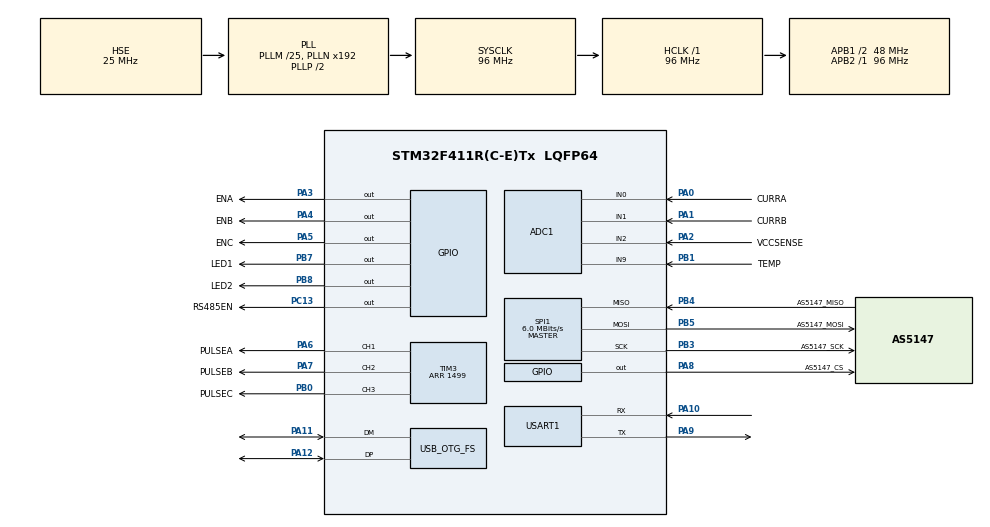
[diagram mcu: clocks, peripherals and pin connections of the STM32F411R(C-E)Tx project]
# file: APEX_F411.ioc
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ADC1.Channel-0\#ChannelRegularConversion=ADC_CHANNEL_2
ADC1.Channel-1\#ChannelRegularConversion=ADC_CHANNEL_9
ADC1.Channel-2\#ChannelInjectedConversion=ADC_CHANNEL_0
ADC1.Channel-3\#ChannelInjectedConversion=ADC_CHANNEL_1
ADC1.ContinuousConvMode=ENABLE
ADC1.DMAContinuousRequests=ENABLE
ADC1.ExternalTrigConv=ADC_SOFTWARE_START
ADC1.ExternalTrigInjecConv=ADC_EXTERNALTRIGINJECCONV_T3_CC4
ADC1.InjNumberOfConversion=2
ADC1.InjectedOffset-2\#ChannelInjectedConversion=0
ADC1.InjectedOffset-3\#ChannelInjectedConversion=0
ADC1.InjectedRank-2\#ChannelInjectedConversion=1
ADC1.InjectedRank-3\#ChannelInjectedConversion=2
ADC1.NbrOfConversion=2
ADC1.NbrOfConversionFlag=1
ADC1.Rank-0\#ChannelRegularConversion=1
ADC1.Rank-1\#ChannelRegularConversion=2
ADC1.SamplingTime-0\#ChannelRegularConversion=ADC_SAMPLETIME_480CYCLES
ADC1.SamplingTime-1\#ChannelRegularConversion=ADC_SAMPLETIME_480CYCLES
ADC1.SamplingTime-2\#ChannelInjectedConversion=ADC_SAMPLETIME_15CYCLES
ADC1.SamplingTime-3\#ChannelInjectedConversion=ADC_SAMPLETIME_15CYCLES
ADC1.ScanConvMode=ENABLE
ADC1.master=1
Dma.ADC1.0.Direction=DMA_PERIPH_TO_MEMORY
Dma.ADC1.0.FIFOMode=DMA_FIFOMODE_DISABLE
Dma.ADC1.0.Instance=DMA2_Stream0
Dma.ADC1.0.MemDataAlignment=DMA_MDATAALIGN_HALFWORD
Dma.ADC1.0.MemInc=DMA_MINC_ENABLE
Dma.ADC1.0.Mode=DMA_CIRCULAR
Dma.ADC1.0.PeriphDataAlignment=DMA_PDATAALIGN_HALFWORD
Dma.ADC1.0.PeriphInc=DMA_PINC_DISABLE
Dma.ADC1.0.Priority=DMA_PRIORITY_LOW
Dma.Request0=ADC1
Mcu.Family=STM32F4
Mcu.Name=STM32F411R(C-E)Tx
Mcu.Package=LQFP64
NVIC.ADC_IRQn=true\:0\:0\:false\:false\:true\:true\:true\:true
NVIC.DMA2_Stream0_IRQn=true\:0\:0\:false\:false\:true\:false\:true\:true
NVIC.OTG_FS_IRQn=true\:1\:0\:true\:false\:true\:false\:true\:true
NVIC.PriorityGroup=NVIC_PRIORITYGROUP_4
NVIC.TIM1_UP_TIM10_IRQn=true\:0\:0\:false\:false\:true\:true\:true\:true
PA0-WKUP.GPIO_Label=CURRA
PA0-WKUP.Signal=ADCx_IN0
PA1.GPIO_Label=CURRB
PA1.Signal=ADCx_IN1
PA10.Mode=Asynchronous
PA10.Signal=USART1_RX
PA11.Mode=Device_Only
PA11.Signal=USB_OTG_FS_DM
PA12.Mode=Device_Only
PA12.Signal=USB_OTG_FS_DP
PA13.GPIO_Label=SWD_SWDIO
PA13.Mode=Serial_Wire
PA13.Signal=SYS_JTMS-SWDIO
PA14.GPIO_Label=SWD_SWCLK
PA14.Mode=Serial_Wire
PA14.Signal=SYS_JTCK-SWCLK
PA2.GPIO_Label=VCCSENSE
PA2.Signal=ADCx_IN2
PA3.GPIO_Label=ENA
PA3.Signal=GPIO_Output
PA4.GPIO_Label=ENB
PA4.Signal=GPIO_Output
PA5.GPIO_Label=ENC
PA5.Signal=GPIO_Output
PA6.GPIO_Label=PULSEA
PA6.Signal=S_TIM3_CH1
PA7.GPIO_Label=PULSEB
PA7.Signal=S_TIM3_CH2
PA8.GPIO_Label=AS5147_CS
PA8.Signal=GPIO_Output
PA9.Mode=Asynchronous
PA9.Signal=USART1_TX
PB0.GPIO_Label=PULSEC
PB0.Signal=S_TIM3_CH3
PB1.GPIO_Label=TEMP
PB1.Signal=ADCx_IN9
PB3.GPIO_Label=AS5147_SCK
PB3.Mode=Full_Duplex_Master
PB3.Signal=SPI1_SCK
PB4.GPIO_Label=AS5147_MISO
PB4.Mode=Full_Duplex_Master
PB4.Signal=SPI1_MISO
PB5.GPIO_Label=AS5147_MOSI
PB5.Mode=Full_Duplex_Master
PB5.Signal=SPI1_MOSI
PB7.GPIO_Label=LED1
PB7.Signal=GPIO_Output
PB8.GPIO_Label=LED2
PB8.Signal=GPIO_Output
PC13-ANTI_TAMP.GPIO_Label=RS485EN
PC13-ANTI_TAMP.Signal=GPIO_Output
PH0\ -\ OSC_IN.Mode=HSE-External-Oscillator
PH0\ -\ OSC_IN.Signal=RCC_OSC_IN
PH1\ -\ OSC_OUT.Mode=HSE-External-Oscillator
PH1\ -\ OSC_OUT.Signal=RCC_OSC_OUT
ProjectManager.HeapSize=0x200
ProjectManager.StackSize=0x400
ProjectManager.TargetToolchain=STM32CubeIDE
RCC.48MHZClocksFreq_Value=48000000
RCC.AHBFreq_Value=96000000
RCC.APB1CLKDivider=RCC_HCLK_DIV2
RCC.APB1Freq_Value=48000000
RCC.APB1TimFreq_Value=96000000
RCC.APB2Freq_Value=96000000
RCC.APB2TimFreq_Value=96000000
RCC.CortexFreq_Value=96000000
RCC.HCLKFreq_Value=96000000
RCC.HSE_VALUE=25000000
RCC.HSI_VALUE=16000000
RCC.LSE_VALUE=32768
RCC.PLLM=25
RCC.PLLQ=4
RCC.SYSCLKFreq_VALUE=96000000
RCC.SYSCLKSource=RCC_SYSCLKSOURCE_PLLCLK
RCC.USBFreq_Value=48000000
RCC.VCOOutputFreq_Value=192000000
SH.ADCx_IN0.0=ADC1_IN0,IN0
SH.ADCx_IN1.0=ADC1_IN1,IN1
SH.ADCx_IN2.0=ADC1_IN2,IN2
SH.ADCx_IN9.0=ADC1_IN9,IN9
SH.S_TIM3_CH1.0=TIM3_CH1,PWM Generation1 CH1
SH.S_TIM3_CH2.0=TIM3_CH2,PWM Generation2 CH2
SH.S_TIM3_CH3.0=TIM3_CH3,PWM Generation3 CH3
SPI1.BaudRatePrescaler=SPI_BAUDRATEPRESCALER_16
SPI1.CLKPhase=SPI_PHASE_2EDGE
SPI1.CalculateBaudRate=6.0 MBits/s
SPI1.DataSize=SPI_DATASIZE_16BIT
SPI1.Direction=SPI_DIRECTION_2LINES
SPI1.Mode=SPI_MODE_MASTER
SPI1.VirtualType=VM_MASTER
TIM1.Period=7999
TIM10.Period=958
TIM3.AutoReloadPreload=TIM_AUTORELOAD_PRELOAD_ENABLE
TIM3.Channel-PWM\ Generation1\ CH1=TIM_CHANNEL_1
TIM3.Channel-PWM\ Generation2\ CH2=TIM_CHANNEL_2
TIM3.Channel-PWM\ Generation3\ CH3=TIM_CHANNEL_3
TIM3.Channel-PWM\ Generation4\ No\ Output=TIM_CHANNEL_4
TIM3.CounterMode=TIM_COUNTERMODE_CENTERALIGNED1
TIM3.Period=1499
USART1.VirtualMode=VM_ASYNC
USB_DEVICE.CLASS_NAME_FS=CDC
USB_DEVICE.VirtualMode=Cdc
USB_DEVICE.VirtualModeFS=Cdc_FS
USB_OTG_FS.VirtualMode=Device_Only
VP_TIM10_VS_ClockSourceINT.Mode=Enable_Timer
VP_TIM1_VS_ClockSourceINT.Mode=Internal
VP_TIM3_VS_ClockSourceINT.Mode=Internal
VP_TIM3_VS_no_output4.Mode=PWM Generation4 No Output
VP_USB_DEVICE_VS_USB_DEVICE_CDC_FS.Mode=CDC_FS
board=custom

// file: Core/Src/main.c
/* USER CODE BEGIN Header */
/* USER CODE END Header */
#include "main.h"
#include "usb_device.h"

/* USER CODE BEGIN Includes */
#include "apex_board.h"
#include "arm_math.h"
/* USER CODE END Includes */

/* USER CODE BEGIN PM */
#define MAX_TICK 2048
/* USER CODE END PM */

ADC_HandleTypeDef hadc1;
DMA_HandleTypeDef hdma_adc1;

SPI_HandleTypeDef hspi1;

TIM_HandleTypeDef htim1;
TIM_HandleTypeDef htim3;
TIM_HandleTypeDef htim10;

UART_HandleTypeDef huart1;

/* USER CODE BEGIN PV */

/* Every subsystem this board has one of.
 *
 * Owned here and passed by pointer to whatever needs them, so there is a
 * single copy of the truth and no module reaches for a global of its
 * own. A board with different hardware -- two motors, no bus sensor,
 * whatever -- changes what gets declared and wired here; the modules
 * themselves don't change. */
static motor_t motor;
static encoder_t encoder;
static gate_driver_t gate_driver;
static sensors_t sensors;
static loop_t loop;
uint32_t ticks = 0;
float sin_ang = 0;
/* USER CODE END PV */

void SystemClock_Config(void);
static void MX_GPIO_Init(void);
static void MX_DMA_Init(void);
static void MX_ADC1_Init(void);
static void MX_TIM1_Init(void);
static void MX_TIM3_Init(void);
static void MX_SPI1_Init(void);
static void MX_USART1_UART_Init(void);
static void MX_TIM10_Init(void);

int main(void)
{

	/* MCU Configuration--------------------------------------------------------*/

	/* Reset of all peripherals, Initializes the Flash interface and the Systick. */
	HAL_Init();

	/* Configure the system clock */
	SystemClock_Config();

	/* Initialize all configured peripherals */
	MX_GPIO_Init();
	MX_DMA_Init();
	MX_ADC1_Init();
	MX_TIM1_Init();
	MX_TIM3_Init();
	MX_SPI1_Init();
	MX_USART1_UART_Init();
	MX_TIM10_Init();
	MX_USB_DEVICE_Init();
	/* USER CODE BEGIN 2 */

	/* ORDER MATTERS HERE.
	 *
	 * motor_init only clears state, so it comes first: nothing that later
	 * reads a motor property can then see memory that was never written.
	 * It only needs the encoder's address, not its contents yet.
	 *
	 * encoder_init next, before anything talks to the sensor over SPI --
	 * loop_init below primes the encoder pipeline as part of its own
	 * setup, so the chip select idle state and the sensor's power-up
	 * error flags must already be sorted out by the time that runs.
	 *
	 * sensors_start next, because it starts the ADC running with the
	 * regular conversion group. The injected group that loop_init arms
	 * preempts that group, so the ADC must already be going.
	 *
	 * gate_driver_init before loop_init, so the bridge is explicitly
	 * disabled before the control interrupt starts firing -- rather than
	 * relying on the GPIO reset state being what we assume.
	 *
	 * loop_init after all three. It measures the no-current sensor
	 * references, which needs the ADC running and the bridge off, and it
	 * arms the interrupt that everything downstream runs inside.
	 *
	 * protection_init after loop_init, since the supervisor compares
	 * against the references loop_init established.
	 *
	 * openloop_init installs itself as the loop function, so it must
	 * follow loop_init and precede loop_start.
	 */
	motor_init(&motor, &encoder);
	encoder_init(&encoder);

	sensors_start(&sensors);
	gate_driver_init(&gate_driver);
	loop_init(&loop, &motor);

	protection_init();
	openloop_init(&motor);
	currentloop_init(&motor);
	telemetry_init(&motor);
	commands_init(&motor);

	loop_start();

	protocol_init();

	/* Work out which way round the current sensors read, now that the
	 * loop is running and can sample them.
	 *
	 * This drives a small current through two phases for a few tens of
	 * milliseconds. It is done here, before anything else can command
	 * the bridge, because every dq transform downstream depends on the
	 * answer and a wrong sign is not a small error -- it points the
	 * control loop's torque the wrong way.
	 *
	 * A disconnected motor produces no current and reports that it could
	 * not tell, leaving the declared directions in place. That is the
	 * right outcome for a board on a bench with nothing attached: no
	 * guess is made from noise, and `idir` will say so when asked.
	 */
	{
		estimate_direction_result_t direction;
		(void)estimate_current_direction(&direction);
	}

	/* Time of the last heartbeat blink.
	 *
	 * A steadily blinking LED1 is the simplest possible proof that the
	 * main loop is still running and has not become stuck inside a call
	 * that never returns -- which is exactly what a control interrupt
	 * overrunning its period looks like from outside. */
	uint32_t last_heartbeat_tick = 0u;

	/* USER CODE END 2 */

	/* Infinite loop */
	/* USER CODE BEGIN WHILE */
	while (1)
	{
		/* Drain received bytes, assemble commands, run their handlers.
		 * Both wire formats are fed from here. */
		protocol_poll();

		/* Compare the sensors against their limits and trip if needed. */
		protection_poll();

		/* Send any waiting telemetry samples. Returns immediately when
		 * nothing is waiting or USB is still busy, so this costs almost
		 * nothing when streaming is off. */
		telemetry_flush();

		/* Heartbeat. Subtracting the two ticks rather than comparing
		 * against a sum keeps the interval correct across the wrap that
		 * happens after about 49 days. */
		if ((HAL_GetTick() - last_heartbeat_tick) >= 500u) {
			last_heartbeat_tick = HAL_GetTick();
			led1_toggle();
			ticks++;
		}
		sin_ang = arm_sin_f32(fmodf((float) ticks,6.28f));

		/* USER CODE END WHILE */

	}
}

void SystemClock_Config(void)
{
	RCC_OscInitTypeDef RCC_OscInitStruct = {0};
	RCC_ClkInitTypeDef RCC_ClkInitStruct = {0};

	/** Configure the main internal regulator output voltage
	 */
	__HAL_RCC_PWR_CLK_ENABLE();
	__HAL_PWR_VOLTAGESCALING_CONFIG(PWR_REGULATOR_VOLTAGE_SCALE1);

	/** Initializes the RCC Oscillators according to the specified parameters
	 * in the RCC_OscInitTypeDef structure.
	 */
	RCC_OscInitStruct.OscillatorType = RCC_OSCILLATORTYPE_HSE;
	RCC_OscInitStruct.HSEState = RCC_HSE_ON;
	RCC_OscInitStruct.PLL.PLLState = RCC_PLL_ON;
	RCC_OscInitStruct.PLL.PLLSource = RCC_PLLSOURCE_HSE;
	RCC_OscInitStruct.PLL.PLLM = 25;
	RCC_OscInitStruct.PLL.PLLN = 192;
	RCC_OscInitStruct.PLL.PLLP = RCC_PLLP_DIV2;
	RCC_OscInitStruct.PLL.PLLQ = 4;
	if (HAL_RCC_OscConfig(&RCC_OscInitStruct) != HAL_OK)
	{
		Error_Handler();
	}

	/** Initializes the CPU, AHB and APB buses clocks
	 */
	RCC_ClkInitStruct.ClockType = RCC_CLOCKTYPE_HCLK|RCC_CLOCKTYPE_SYSCLK
			|RCC_CLOCKTYPE_PCLK1|RCC_CLOCKTYPE_PCLK2;
	RCC_ClkInitStruct.SYSCLKSource = RCC_SYSCLKSOURCE_PLLCLK;
	RCC_ClkInitStruct.AHBCLKDivider = RCC_SYSCLK_DIV1;
	RCC_ClkInitStruct.APB1CLKDivider = RCC_HCLK_DIV2;
	RCC_ClkInitStruct.APB2CLKDivider = RCC_HCLK_DIV1;

	if (HAL_RCC_ClockConfig(&RCC_ClkInitStruct, FLASH_LATENCY_3) != HAL_OK)
	{
		Error_Handler();
	}
}

static void MX_ADC1_Init(void)
{

	ADC_ChannelConfTypeDef sConfig = {0};
	ADC_InjectionConfTypeDef sConfigInjected = {0};

	/** Configure the global features of the ADC (Clock, Resolution, Data Alignment and number of conversion)
	 */
	hadc1.Instance = ADC1;
	hadc1.Init.ClockPrescaler = ADC_CLOCK_SYNC_PCLK_DIV4;
	hadc1.Init.Resolution = ADC_RESOLUTION_12B;
	hadc1.Init.ScanConvMode = ENABLE;
	hadc1.Init.ContinuousConvMode = ENABLE;
	hadc1.Init.DiscontinuousConvMode = DISABLE;
	hadc1.Init.ExternalTrigConvEdge = ADC_EXTERNALTRIGCONVEDGE_NONE;
	hadc1.Init.ExternalTrigConv = ADC_SOFTWARE_START;
	hadc1.Init.DataAlign = ADC_DATAALIGN_RIGHT;
	hadc1.Init.NbrOfConversion = 2;
	hadc1.Init.DMAContinuousRequests = ENABLE;
	hadc1.Init.EOCSelection = ADC_EOC_SINGLE_CONV;
	if (HAL_ADC_Init(&hadc1) != HAL_OK)
	{
		Error_Handler();
	}

	/** Configure for the selected ADC regular channel its corresponding rank in the sequencer and its sample time.
	 */
	sConfig.Channel = ADC_CHANNEL_2;
	sConfig.Rank = 1;
	sConfig.SamplingTime = ADC_SAMPLETIME_480CYCLES;
	if (HAL_ADC_ConfigChannel(&hadc1, &sConfig) != HAL_OK)
	{
		Error_Handler();
	}

	/** Configure for the selected ADC regular channel its corresponding rank in the sequencer and its sample time.
	 */
	sConfig.Channel = ADC_CHANNEL_9;
	sConfig.Rank = 2;
	if (HAL_ADC_ConfigChannel(&hadc1, &sConfig) != HAL_OK)
	{
		Error_Handler();
	}

	/** Configures for the selected ADC injected channel its corresponding rank in the sequencer and its sample time
	 */
	sConfigInjected.InjectedChannel = ADC_CHANNEL_0;
	sConfigInjected.InjectedRank = 1;
	sConfigInjected.InjectedNbrOfConversion = 2;
	sConfigInjected.InjectedSamplingTime = ADC_SAMPLETIME_15CYCLES;
	sConfigInjected.ExternalTrigInjecConvEdge = ADC_EXTERNALTRIGINJECCONVEDGE_RISING;
	sConfigInjected.ExternalTrigInjecConv = ADC_EXTERNALTRIGINJECCONV_T3_CC4;
	sConfigInjected.AutoInjectedConv = DISABLE;
	sConfigInjected.InjectedDiscontinuousConvMode = DISABLE;
	sConfigInjected.InjectedOffset = 0;
	if (HAL_ADCEx_InjectedConfigChannel(&hadc1, &sConfigInjected) != HAL_OK)
	{
		Error_Handler();
	}

	/** Configures for the selected ADC injected channel its corresponding rank in the sequencer and its sample time
	 */
	sConfigInjected.InjectedChannel = ADC_CHANNEL_1;
	sConfigInjected.InjectedRank = 2;
	if (HAL_ADCEx_InjectedConfigChannel(&hadc1, &sConfigInjected) != HAL_OK)
	{
		Error_Handler();
	}

}

static void MX_SPI1_Init(void)
{

	/* SPI1 parameter configuration*/
	hspi1.Instance = SPI1;
	hspi1.Init.Mode = SPI_MODE_MASTER;
	hspi1.Init.Direction = SPI_DIRECTION_2LINES;
	hspi1.Init.DataSize = SPI_DATASIZE_16BIT;
	hspi1.Init.CLKPolarity = SPI_POLARITY_LOW;
	hspi1.Init.CLKPhase = SPI_PHASE_2EDGE;
	hspi1.Init.NSS = SPI_NSS_SOFT;
	hspi1.Init.BaudRatePrescaler = SPI_BAUDRATEPRESCALER_16;
	hspi1.Init.FirstBit = SPI_FIRSTBIT_MSB;
	hspi1.Init.TIMode = SPI_TIMODE_DISABLE;
	hspi1.Init.CRCCalculation = SPI_CRCCALCULATION_DISABLE;
	hspi1.Init.CRCPolynomial = 10;
	if (HAL_SPI_Init(&hspi1) != HAL_OK)
	{
		Error_Handler();
	}

}

static void MX_TIM1_Init(void)
{

	TIM_ClockConfigTypeDef sClockSourceConfig = {0};
	TIM_MasterConfigTypeDef sMasterConfig = {0};

	htim1.Instance = TIM1;
	htim1.Init.Prescaler = 0;
	htim1.Init.CounterMode = TIM_COUNTERMODE_UP;
	htim1.Init.Period = 7999;
	htim1.Init.ClockDivision = TIM_CLOCKDIVISION_DIV1;
	htim1.Init.RepetitionCounter = 0;
	htim1.Init.AutoReloadPreload = TIM_AUTORELOAD_PRELOAD_DISABLE;
	if (HAL_TIM_Base_Init(&htim1) != HAL_OK)
	{
		Error_Handler();
	}
	sClockSourceConfig.ClockSource = TIM_CLOCKSOURCE_INTERNAL;
	if (HAL_TIM_ConfigClockSource(&htim1, &sClockSourceConfig) != HAL_OK)
	{
		Error_Handler();
	}
	sMasterConfig.MasterOutputTrigger = TIM_TRGO_RESET;
	sMasterConfig.MasterSlaveMode = TIM_MASTERSLAVEMODE_DISABLE;
	if (HAL_TIMEx_MasterConfigSynchronization(&htim1, &sMasterConfig) != HAL_OK)
	{
		Error_Handler();
	}

}

static void MX_TIM3_Init(void)
{

	TIM_ClockConfigTypeDef sClockSourceConfig = {0};
	TIM_MasterConfigTypeDef sMasterConfig = {0};
	TIM_OC_InitTypeDef sConfigOC = {0};

	htim3.Instance = TIM3;
	htim3.Init.Prescaler = 0;
	htim3.Init.CounterMode = TIM_COUNTERMODE_CENTERALIGNED1;
	htim3.Init.Period = 1499;
	htim3.Init.ClockDivision = TIM_CLOCKDIVISION_DIV1;
	htim3.Init.AutoReloadPreload = TIM_AUTORELOAD_PRELOAD_ENABLE;
	if (HAL_TIM_Base_Init(&htim3) != HAL_OK)
	{
		Error_Handler();
	}
	sClockSourceConfig.ClockSource = TIM_CLOCKSOURCE_INTERNAL;
	if (HAL_TIM_ConfigClockSource(&htim3, &sClockSourceConfig) != HAL_OK)
	{
		Error_Handler();
	}
	if (HAL_TIM_PWM_Init(&htim3) != HAL_OK)
	{
		Error_Handler();
	}
	sMasterConfig.MasterOutputTrigger = TIM_TRGO_RESET;
	sMasterConfig.MasterSlaveMode = TIM_MASTERSLAVEMODE_DISABLE;
	if (HAL_TIMEx_MasterConfigSynchronization(&htim3, &sMasterConfig) != HAL_OK)
	{
		Error_Handler();
	}
	sConfigOC.OCMode = TIM_OCMODE_PWM1;
	sConfigOC.Pulse = 0;
	sConfigOC.OCPolarity = TIM_OCPOLARITY_HIGH;
	sConfigOC.OCFastMode = TIM_OCFAST_DISABLE;
	if (HAL_TIM_PWM_ConfigChannel(&htim3, &sConfigOC, TIM_CHANNEL_1) != HAL_OK)
	{
		Error_Handler();
	}
	if (HAL_TIM_PWM_ConfigChannel(&htim3, &sConfigOC, TIM_CHANNEL_2) != HAL_OK)
	{
		Error_Handler();
	}
	if (HAL_TIM_PWM_ConfigChannel(&htim3, &sConfigOC, TIM_CHANNEL_3) != HAL_OK)
	{
		Error_Handler();
	}
	if (HAL_TIM_PWM_ConfigChannel(&htim3, &sConfigOC, TIM_CHANNEL_4) != HAL_OK)
	{
		Error_Handler();
	}
	HAL_TIM_MspPostInit(&htim3);

}

static void MX_TIM10_Init(void)
{

	htim10.Instance = TIM10;
	htim10.Init.Prescaler = 0;
	htim10.Init.CounterMode = TIM_COUNTERMODE_UP;
	htim10.Init.Period = 958;
	htim10.Init.ClockDivision = TIM_CLOCKDIVISION_DIV1;
	htim10.Init.AutoReloadPreload = TIM_AUTORELOAD_PRELOAD_DISABLE;
	if (HAL_TIM_Base_Init(&htim10) != HAL_OK)
	{
		Error_Handler();
	}

}

static void MX_USART1_UART_Init(void)
{

	huart1.Instance = USART1;
	huart1.Init.BaudRate = 115200;
	huart1.Init.WordLength = UART_WORDLENGTH_8B;
	huart1.Init.StopBits = UART_STOPBITS_1;
	huart1.Init.Parity = UART_PARITY_NONE;
	huart1.Init.Mode = UART_MODE_TX_RX;
	huart1.Init.HwFlowCtl = UART_HWCONTROL_NONE;
	huart1.Init.OverSampling = UART_OVERSAMPLING_16;
	if (HAL_UART_Init(&huart1) != HAL_OK)
	{
		Error_Handler();
	}

}

static void MX_DMA_Init(void)
{

	/* DMA controller clock enable */
	__HAL_RCC_DMA2_CLK_ENABLE();

	/* DMA interrupt init */
	/* DMA2_Stream0_IRQn interrupt configuration */
	HAL_NVIC_SetPriority(DMA2_Stream0_IRQn, 0, 0);
	HAL_NVIC_EnableIRQ(DMA2_Stream0_IRQn);

}

static void MX_GPIO_Init(void)
{
	GPIO_InitTypeDef GPIO_InitStruct = {0};

	/* GPIO Ports Clock Enable */
	__HAL_RCC_GPIOC_CLK_ENABLE();
	__HAL_RCC_GPIOH_CLK_ENABLE();
	__HAL_RCC_GPIOA_CLK_ENABLE();
	__HAL_RCC_GPIOB_CLK_ENABLE();

	/*Configure GPIO pin Output Level */
	HAL_GPIO_WritePin(RS485EN_GPIO_Port, RS485EN_Pin, GPIO_PIN_RESET);

	/*Configure GPIO pin Output Level */
	HAL_GPIO_WritePin(GPIOA, ENA_Pin|ENB_Pin|ENC_Pin|AS5147_CS_Pin, GPIO_PIN_RESET);

	/*Configure GPIO pin Output Level */
	HAL_GPIO_WritePin(GPIOB, LED1_Pin|LED2_Pin, GPIO_PIN_RESET);

	/*Configure GPIO pin : RS485EN_Pin */
	GPIO_InitStruct.Pin = RS485EN_Pin;
	GPIO_InitStruct.Mode = GPIO_MODE_OUTPUT_PP;
	GPIO_InitStruct.Pull = GPIO_NOPULL;
	GPIO_InitStruct.Speed = GPIO_SPEED_FREQ_LOW;
	HAL_GPIO_Init(RS485EN_GPIO_Port, &GPIO_InitStruct);

	/*Configure GPIO pins : ENA_Pin ENB_Pin ENC_Pin AS5147_CS_Pin */
	GPIO_InitStruct.Pin = ENA_Pin|ENB_Pin|ENC_Pin|AS5147_CS_Pin;
	GPIO_InitStruct.Mode = GPIO_MODE_OUTPUT_PP;
	GPIO_InitStruct.Pull = GPIO_NOPULL;
	GPIO_InitStruct.Speed = GPIO_SPEED_FREQ_LOW;
	HAL_GPIO_Init(GPIOA, &GPIO_InitStruct);

	/*Configure GPIO pins : LED1_Pin LED2_Pin */
	GPIO_InitStruct.Pin = LED1_Pin|LED2_Pin;
	GPIO_InitStruct.Mode = GPIO_MODE_OUTPUT_PP;
	GPIO_InitStruct.Pull = GPIO_NOPULL;
	GPIO_InitStruct.Speed = GPIO_SPEED_FREQ_LOW;
	HAL_GPIO_Init(GPIOB, &GPIO_InitStruct);

}

void Error_Handler(void)
{
	/* USER CODE BEGIN Error_Handler_Debug */
	/* Both LEDs flickering quickly means initialisation failed.
	 *
	 * The generated version of this is a bare infinite loop, which from
	 * outside is indistinguishable from a hung USB stack or a control
	 * interrupt that never returns. Giving it a signature you can read
	 * across the room separates those cases immediately.
	 *
	 * The bridge is shut down first, since whatever went wrong, leaving
	 * transistors in an unknown state is the worst way to fail. */
	__disable_irq();
	gate_driver_disable_all();

	while (1)
	{
		HAL_GPIO_TogglePin(LED1_GPIO_Port, LED1_Pin);
		HAL_GPIO_TogglePin(LED2_GPIO_Port, LED2_Pin);
		for (volatile uint32_t i = 0u; i < 400000u; i++) { }
	}
	/* USER CODE END Error_Handler_Debug */
}
